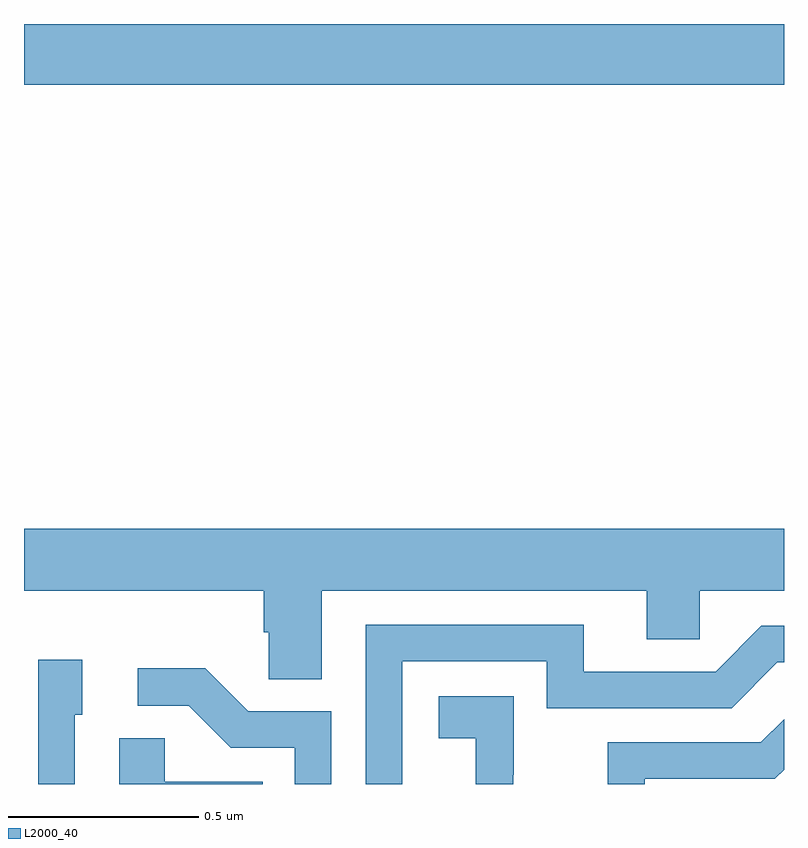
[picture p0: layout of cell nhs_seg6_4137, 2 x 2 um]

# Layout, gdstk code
import gdstk
lib = gdstk.Library(unit=1e-6, precision=1e-09)
def R(c, l, rs):  # rectangles x0, y0, x1, y1
    for r in rs: c.add(gdstk.rectangle(r[:2], r[2:], *l))
def P(c, l, *ps):  # polygons
    for p in ps: c.add(gdstk.Polygon(p, *l))
L2000_40 = (2000, 40)

nhs_seg6_4137 = lib.new_cell('nhs_seg6_4137')
R(nhs_seg6_4137, L2000_40, [(166,943.34,168,943.5)])
P(nhs_seg6_4137, L2000_40, [(166.783,942.008),(167.639,942.008),(167.639,941.881),(167.778,941.881),(167.778,942.008),(168,942.008),(168,942.172),(166,942.172),(166,942.008),(166.631,942.008),(166.631,941.899),(166.644,941.899),(166.644,941.776),(166.783,941.776)],
  [(166.995,941.823),(167.376,941.823),(167.376,941.7),(167.862,941.7),(167.982,941.82),(168,941.82),(168,941.916),(167.94,941.916),(167.82,941.796),(167.473,941.796),(167.473,941.919),(166.899,941.919),(166.899,941.5),(166.995,941.5)],
  [(166.134,941.682),(166.153,941.682),(166.153,941.827),(166.038,941.827),(166.038,941.5),(166.134,941.5)],
  [(166.809,941.691),(166.59,941.691),(166.477,941.804),(166.299,941.804),(166.299,941.706),(166.433,941.706),(166.544,941.595),(166.713,941.595),(166.713,941.5),(166.809,941.5)],
  [(167.288,941.525),(167.289,941.525),(167.289,941.731),(167.091,941.731),(167.091,941.621),(167.189,941.621),(167.189,941.5),(167.288,941.5)],
  [(167.634,941.514),(167.976,941.514),(168,941.538),(168,941.671),(167.939,941.61),(167.536,941.61),(167.536,941.5),(167.634,941.5)],
  [(166.628,941.506),(166.371,941.506),(166.371,941.621),(166.25,941.621),(166.25,941.5),(166.628,941.5)])

lib.write_gds('nhs_seg6_4137.gds')
